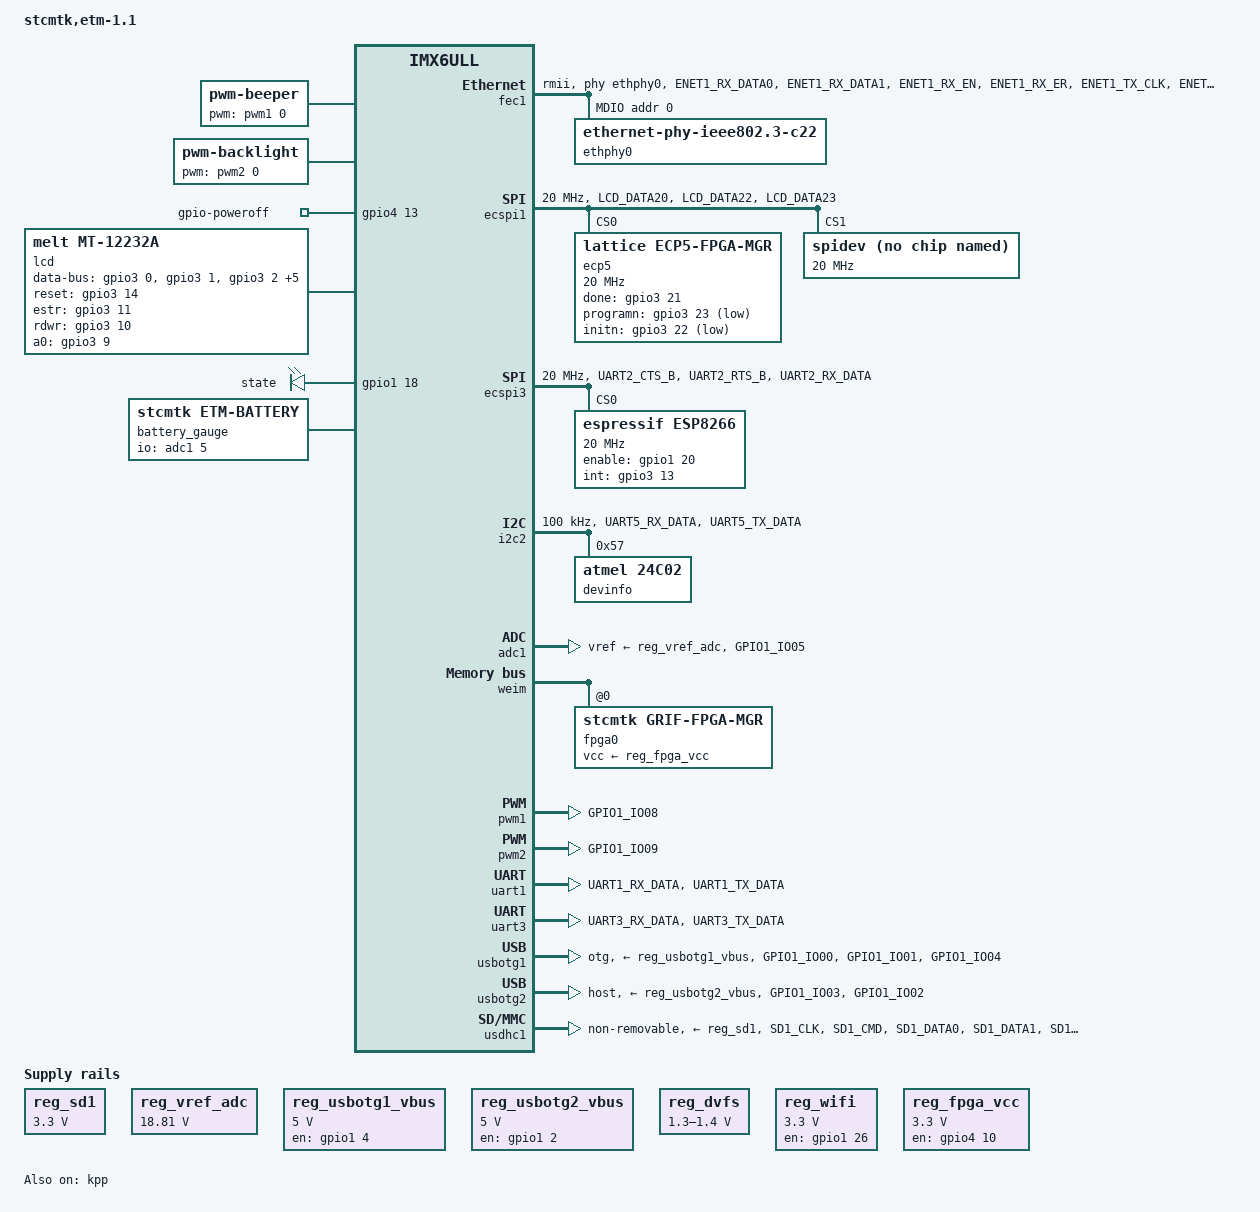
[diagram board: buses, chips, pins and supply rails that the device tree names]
#include "stcmtk-grif-hwtests.dtsi"

/ {
	model = "stcmtk,etm-1.1";
	compatible = "stcmtk,etm", "fsl,imx6ull";

	regulators {
		compatible = "simple-bus";
		#address-cells = <1>;
		#size-cells = <0>;

		reg_sd1: sd1@0 {
			compatible = "regulator-fixed";
			regulator-name = "SD1_PWR_STUB";
			regulator-min-microvolt = <3300000>;
			regulator-max-microvolt = <3300000>;
			regulator-always-on;
		};

		reg_vref_adc: vref_adc@1 {
			compatible = "regulator-fixed";
			regulator-name = "ADC_REF_STUB";
			/* This regulator is used for ETM battery ADC reference
			 * voltage representing. ADC measures battery voltage
			 * behind the voltage divider with factor = 5.7. So
			 * real battery voltage equals ADC voltage * 5.7, and
			 * max ADC voltage is 3.3 * 5.7 = 18.81
			 */
			regulator-min-microvolt = <18810000>;
			regulator-max-microvolt = <18810000>;
			regulator-always-on;
		};

		reg_usbotg1_vbus: reg@2 {
			compatible = "regulator-fixed";
			regulator-name = "USB1_PWR_REG";
			regulator-min-microvolt = <5000000>;
			regulator-max-microvolt = <5000000>;
			enable-active-high;
			gpio = <&gpio1 4 GPIO_ACTIVE_HIGH>;
		};

		reg_usbotg2_vbus: reg@3 {
			compatible = "regulator-fixed";
			regulator-name = "USB2_PWR_REG";
			regulator-min-microvolt = <5000000>;
			regulator-max-microvolt = <5000000>;
			enable-active-high;
			gpio = <&gpio1 2 GPIO_ACTIVE_HIGH>;
		};

		reg_dvfs: reg@4 {
			compatible = "regulator-gpio";
			pinctrl-names = "default";
			pinctrl-0 = <&pinctrl_dvfs>;
			regulator-name = "gpio_dvfs";
			regulator-type = "voltage";
			regulator-min-microvolt = <1300000>;
			regulator-max-microvolt = <1400000>;
			gpios = <&gpio5 3 GPIO_ACTIVE_HIGH>;
			states = <1300000 0x1
				  1400000 0x0>;
		};

		reg_wifi: reg@5 {
			pinctrl-names = "default";
			pinctrl-0 = <&pinctrl_wifi_pwr>;
			compatible = "regulator-fixed";
			regulator-name = "wifi_pwr";
			regulator-min-microvolt = <3300000>;
			regulator-max-microvolt = <3300000>;
			regulator-always-on;
			enable-active-high;
			gpio = <&gpio1 26 GPIO_ACTIVE_HIGH>;
		};

		reg_fpga_vcc: fpga0@6 {
			pinctrl-names = "default";
			pinctrl-0 = <&pinctrl_fpga0_pwr>;
			compatible = "regulator-fixed";
			regulator-name = "FPGA_3V3_REG";
			regulator-type = "voltage";
			regulator-min-microvolt = <3300000>;
			regulator-max-microvolt = <3300000>;
			enable-active-high;
			regulator-always-on;
			gpio = <&gpio4 10 GPIO_ACTIVE_HIGH>;
		};
	};

	beeper {
		compatible = "pwm-beeper";
		status = "okay";
		pwms = <&pwm1 0 500000>;
	};

	backlight {
		compatible = "pwm-backlight";
		brightness-levels = <0 32 64 96 112 128 160 192 220 255>;
		default-brightness-level = <4>;
		status = "okay";
		pwms = <&pwm2 0 500000>;
	};
	
	gpio-poweroff {
		pinctrl-names = "default";
		pinctrl-0 = <&pinctrl_poweroff>;
		compatible = "gpio-poweroff";
		status = "okay";
		gpios = <&gpio4 13 GPIO_ACTIVE_HIGH>;
	};

	lcd {
		compatible = "melt,mt-12232a";
		pinctrl-names = "default";
		pinctrl-0 = <&pinctrl_lcd>;
		data-bus-gpios = <&gpio3 0  GPIO_ACTIVE_HIGH   /* DB0   */
			          &gpio3 1  GPIO_ACTIVE_HIGH   /* DB1   */
			          &gpio3 2  GPIO_ACTIVE_HIGH   /* DB2   */
			          &gpio3 3  GPIO_ACTIVE_HIGH   /* DB3   */
			          &gpio3 5  GPIO_ACTIVE_HIGH   /* DB4   */
			          &gpio3 6  GPIO_ACTIVE_HIGH   /* DB5   */
			          &gpio3 7  GPIO_ACTIVE_HIGH   /* DB6   */
			          &gpio3 8  GPIO_ACTIVE_HIGH>; /* DB7   */
		reset-gpios    = <&gpio3 14 GPIO_ACTIVE_HIGH>; /* RESET */
		cs-gpios       = <&gpio3 12 GPIO_ACTIVE_HIGH>; /* CS    */
		estr-gpios     = <&gpio3 11 GPIO_ACTIVE_HIGH>; /* ESTR  */
		rdwr-gpios     = <&gpio3 10 GPIO_ACTIVE_HIGH>; /* RDWR  */
		a0-gpios       = <&gpio3 9  GPIO_ACTIVE_HIGH>; /* A0    */
		status = "okay";
	};

	leds {
		/* TODO: choose led names with the App team */
		status {
			pinctrl-names = "default";
			pinctrl-0 = <&pinctrl_led_status>;
			label = "state";
			linux,default-trigger = "heartbeat";
			gpios = <&gpio1 18 GPIO_ACTIVE_HIGH>;
			panic-indicator;
		};
	};

	gpio-exporter {
		compatible = "linux,gpio-exporter";
		status = "okay";
		exported-gpios = <&gpio4 15 GPIO_ACTIVE_HIGH>,
				 <&gpio4 12 GPIO_ACTIVE_HIGH>,
				 <&gpio3 16 GPIO_ACTIVE_HIGH>;
		exported-gpio-names = "mcu-boot", "mcu-pwr-en", "poe-gpio";
	};

	gpio-pin-test {
		compatible = "linux,gpio-exporter";
		status = "okay";
		exported-gpios = <&gpio4 16 GPIO_ACTIVE_HIGH>,
				 <&gpio4 11 GPIO_ACTIVE_HIGH>,
				 <&gpio4 21 GPIO_ACTIVE_HIGH>,
				 <&gpio4 22 GPIO_ACTIVE_HIGH>,
				 <&gpio4 23 GPIO_ACTIVE_HIGH>,
				 <&gpio4 24 GPIO_ACTIVE_HIGH>,
				 <&gpio4 25 GPIO_ACTIVE_HIGH>,
				 <&gpio4 26 GPIO_ACTIVE_HIGH>,
				 <&gpio4 27 GPIO_ACTIVE_HIGH>,
				 <&gpio4 28 GPIO_ACTIVE_HIGH>,
				 <&gpio4 1 GPIO_ACTIVE_HIGH>,
				 <&gpio4 3 GPIO_ACTIVE_HIGH>,
				 <&gpio4 4 GPIO_ACTIVE_HIGH>,
				 <&gpio4 5 GPIO_ACTIVE_HIGH>,
				 <&gpio4 6 GPIO_ACTIVE_HIGH>,
				 <&gpio4 7 GPIO_ACTIVE_HIGH>,
				 <&gpio4 8 GPIO_ACTIVE_HIGH>,
				 <&gpio4 9 GPIO_ACTIVE_HIGH>,
				 <&gpio4 20 GPIO_ACTIVE_HIGH>,
				 <&gpio4 17 GPIO_ACTIVE_HIGH>,
				 <&gpio4 19 GPIO_ACTIVE_HIGH>,
				 <&gpio4 18 GPIO_ACTIVE_HIGH>,
				 <&gpio3 17 GPIO_ACTIVE_HIGH>,
				 <&gpio3 18 GPIO_ACTIVE_HIGH>,
				 <&gpio3 19 GPIO_ACTIVE_HIGH>,
				 <&gpio3 20 GPIO_ACTIVE_HIGH>,
				 <&gpio3 24 GPIO_ACTIVE_HIGH>,
				 <&gpio1 10 GPIO_ACTIVE_HIGH>;
		exported-gpio-names = "01.EIM_WAIT", "02.EIM_BCLK", "03.EIM_AD0",
				      "04.EIM_AD1", "05.EIM_AD2", "06.EIM_AD3", "07.EIM_AD4",
				      "08.EIM_AD5", "09.EIM_AD6", "10.EIM_AD7", "11.EIM_AD8",
				      "12.EIM_AD9", "13.EIM_AD10", "14.EIM_AD11", "15.EIM_AD12",
				      "16.EIM_AD13", "17.EIM_AD14", "18.EIM_AD15",
				      "19.EIM_LBA",
				      "20.EIM_CS", "21.EIM_RW", "22.EIM_OE", "23.FPGA_INT_1",
				      "24.FPGA_INT_2", "25.FPGA_INT_3", "26.FPGA_INT_4",
				      "35.CPU_GRSN", "27.SDMA_INT";
	};

	bat_info: battery_info {
		compatible = "simple-battery";
		voltage-min-design-microvolt = <6200000>;
		charge-full-design-microamp-hours = <2600000>;
		constant_charge_voltage_max_microvolt = <8400000>;
	};

	battery_gauge {
		compatible = "stcmtk,etm-battery";
		monitored-battery = <&bat_info>;
		io-channels = <&adc1 5>;
		io-channel-names = "voltage";
		charge-detect-voltage-microvolt = <10000000>;
	};
};

&cpu0 {
	operating-points = <
		/* kHz	uV */
		900000	1275000
		792000	1225000
		528000	1175000
		396000	1025000
		198000	950000
	>;
	fsl,soc-operating-points = <
		/* KHz	uV */
		900000	1175000
		792000	1175000
		528000	1175000
		396000	1175000
		198000	1175000
	>;
	fsl,low-power-run;
	fsl,arm-soc-shared = <0>;
	dc-supply = <&reg_dvfs>;
};

&kpp {
	pinctrl-names = "default","sleep","idle","init";
	pinctrl-0 = <&pinctrl_kpp>;
	pinctrl-1 = <&pinctrl_kpp>;
	pinctrl-2 = <&pinctrl_kpp>;
	pinctrl-3 = <&pinctrl_kpp>;
	linux,autorepeat-delay = <500>; /* miliseconds */
	linux,autorepeat-period = <50>; /* miliseconds */
	linux,keymap = <
			MATRIX_KEY(4, 5, KEY_KPASTERISK)
			MATRIX_KEY(0, 5, KEY_7)
			MATRIX_KEY(5, 5, KEY_4)
			MATRIX_KEY(6, 5, KEY_1)
			MATRIX_KEY(7, 5, KEY_HOME)
			MATRIX_KEY(5, 4, KEY_LEFT)
			MATRIX_KEY(5, 0, KEY_ESC)
			MATRIX_KEY(4, 6, KEY_0)
			MATRIX_KEY(0, 6, KEY_8)
			MATRIX_KEY(5, 6, KEY_5)
			MATRIX_KEY(6, 6, KEY_2)
			MATRIX_KEY(7, 6, KEY_DOWN)
			MATRIX_KEY(6, 4, KEY_UP)
			MATRIX_KEY(4, 7, KEY_GRAVE)
			MATRIX_KEY(0, 7, KEY_9)
			MATRIX_KEY(5, 7, KEY_6)
			MATRIX_KEY(6, 7, KEY_3)
			MATRIX_KEY(7, 7, KEY_END)
			MATRIX_KEY(7, 4, KEY_RIGHT)
			MATRIX_KEY(7, 0, KEY_ENTER)
	>;
	clocks = <&clks IMX6UL_CLK_KPP>;
	status = "okay";
};

&fec1 {
	pinctrl-names = "default";
	pinctrl-0 = <&pinctrl_enet1 &pinctrl_ethphy0 &pinctrl_mdio0>;
	phy-mode = "rmii";
	phy-handle = <&ethphy0>;
	phy-reset-gpios = <&gpio4 14 GPIO_ACTIVE_HIGH>;
	local-mac-address = [00 21 ce 40 00 01];
	status = "okay";

	mdio {
		#address-cells = <1>;
		#size-cells = <0>;

		ethphy0: ethernet-phy@0 {
			compatible = "ethernet-phy-ieee802.3-c22";
			reg = <0>;
		};
	};
};

&gpc {
	fsl,cpu_pupscr_sw2iso = <0x1>;
	fsl,cpu_pupscr_sw = <0x0>;
	fsl,cpu_pdnscr_iso2sw = <0x1>;
	fsl,cpu_pdnscr_iso = <0x1>;
	fsl,ldo-bypass = <0>; /* DCDC, ldo-enable */
};

&ecspi1 {
	pinctrl-names = "default";
	pinctrl-0 = <&pinctrl_ecspi1>;
	clock-frequency = <20000000>;
	status = "okay";
	fsl,spi-num-chipselects = <2>;
	/* Actually there is no CS muxed to the pin  because we need to
	 * drive CS manually from the Lattice ECP5 FPGA driver
	 * see pinmux definition for details
	 */
	cs-gpios = <0 0>;

	ecp5: ecp5@0 {
		pinctrl-names = "default";
		pinctrl-0 = <&pinctrl_ecp5 &pinctrl_ecp5_spi_cs>;
		compatible = "lattice,ecp5-fpga-mgr";
		status = "okay";
		spi-max-frequency = <20000000>;
		reg = <0>;
		cs-gpios = <&gpio3 26 GPIO_ACTIVE_LOW>;
		done-gpios = <&gpio3 21 GPIO_ACTIVE_HIGH>;
		programn-gpios = <&gpio3 23 GPIO_ACTIVE_LOW>;
		initn-gpios = <&gpio3 22 GPIO_ACTIVE_LOW>;
	};

       spidev@1 {
		compatible = "spidev";
		reg = <1>;
		spi-max-frequency = <20000000>;
		status = "okay";
       };
};

&ecspi3 {
	pinctrl-names = "default";
	pinctrl-0 = <&pinctrl_ecspi3>;
	clock-frequency = <20000000>;
	status = "okay";
	fsl,spi-num-chipselects = <1>;
	cs-gpios = <0>;

	esp8266: esp8266@0 {
		pinctrl-names = "default";
		pinctrl-0 = <&pinctrl_wifi>;
		compatible = "espressif,esp8266";
		spi-max-frequency = <20000000>;
		reg = <0>;
		enable-gpio = <&gpio1 20 GPIO_ACTIVE_HIGH>;
		int-gpio = <&gpio3 13 GPIO_ACTIVE_HIGH>;
		status = "okay";
	};
};

&i2c2 {
	clock-frequency = <100000>;
	pinctrl-names = "default";
	pinctrl-0 = <&pinctrl_i2c2>;
	status = "okay";

	devinfo@57 {
		pinctrl-names = "default";
		pinctrl-0 = <&pinctrl_eeprom1>;
		compatible = "atmel,24c02";
		reg = <0x57>;
		pagesize = <16>;
	};
};

&iomuxc {
	pinctrl-names = "default";
	pinctrl-0 = <&pinctrl_hog_1>;
	stcmtk-lan-tester {
		pinctrl_hog_1: hoggrp-1 {
			fsl,pins = <
				/* JTAG */
				MX6UL_PAD_JTAG_TCK__SJC_TCK		0x000070A0
				MX6UL_PAD_JTAG_TDI__SJC_TDI		0x000070A0
				MX6UL_PAD_JTAG_TDO__SJC_TDO		0x000090B1
				MX6UL_PAD_JTAG_TMS__SJC_TMS		0x000070A0
				MX6UL_PAD_JTAG_TRST_B__SJC_TRSTB	0x000070A0

				/* FPGA */
				MX6UL_PAD_JTAG_MOD__SDMA_EXT_EVENT00	0x0000B0A0 /* SDMA INT */
				MX6UL_PAD_LCD_DATA12__GPIO3_IO17	0x000010B0 /* FPGA_INT_1 */
				MX6UL_PAD_LCD_DATA13__GPIO3_IO18	0x000010B0 /* FPGA_INT_2 */
				MX6UL_PAD_LCD_DATA14__GPIO3_IO19	0x000010B0 /* FPGA_INT_3 */
				MX6UL_PAD_LCD_DATA15__GPIO3_IO20	0x000010B0 /* FPGA_INT_4 */

				MX6UL_PAD_LCD_DATA19__GPIO3_IO24	0x000010B0 /* GSRN - FPGA RESET */

				/* CABLE TESTING - STM32 MCU */
				MX6UL_PAD_NAND_CLE__GPIO4_IO15		0x000010B0 /* MCU_BOOT */
				MX6UL_PAD_NAND_READY_B__GPIO4_IO12	0x000010B0 /* LAN_TESTER_PWR_EN */
				MX6UL_PAD_LCD_DATA11__GPIO3_IO16	0x000010B0 /* POE_CLASS4_EN */

				/* EIM GROUP */
				MX6UL_PAD_CSI_DATA00__GPIO4_IO21	0x000010B0      
				MX6UL_PAD_CSI_DATA01__GPIO4_IO22	0x000010B0      
				MX6UL_PAD_CSI_DATA02__GPIO4_IO23	0x000010B0      
				MX6UL_PAD_CSI_DATA03__GPIO4_IO24	0x000010B0      
				MX6UL_PAD_CSI_DATA04__GPIO4_IO25	0x000010B0      
				MX6UL_PAD_CSI_DATA05__GPIO4_IO26	0x000010B0      
				MX6UL_PAD_CSI_DATA06__GPIO4_IO27	0x000010B0      
				MX6UL_PAD_CSI_DATA07__GPIO4_IO28	0x000010B0      
				MX6UL_PAD_CSI_HSYNC__GPIO4_IO20		0x000010B0      
				MX6UL_PAD_CSI_MCLK__GPIO4_IO17		0x000010B0      
				MX6UL_PAD_CSI_PIXCLK__GPIO4_IO18	0x000010B0      
				MX6UL_PAD_CSI_VSYNC__GPIO4_IO19		0x000010B0      
				MX6UL_PAD_JTAG_MOD__GPIO1_IO10		0x0000B0A0      
				MX6UL_PAD_LCD_DATA12__GPIO3_IO17	0x000010B0      
				MX6UL_PAD_LCD_DATA13__GPIO3_IO18	0x000010B0      
				MX6UL_PAD_LCD_DATA14__GPIO3_IO19	0x000010B0      
				MX6UL_PAD_LCD_DATA15__GPIO3_IO20	0x000010B0      
				MX6UL_PAD_LCD_DATA19__GPIO3_IO24	0x000010B0      
				MX6UL_PAD_NAND_DATA00__GPIO4_IO02	0x000010B0      
				MX6UL_PAD_NAND_DATA01__GPIO4_IO03	0x000010B0      
				MX6UL_PAD_NAND_DATA02__GPIO4_IO04	0x000010B0      
				MX6UL_PAD_NAND_DATA03__GPIO4_IO05	0x000010B0      
				MX6UL_PAD_NAND_DATA04__GPIO4_IO06	0x000010B0      
				MX6UL_PAD_NAND_DATA05__GPIO4_IO07	0x000010B0      
				MX6UL_PAD_NAND_DATA06__GPIO4_IO08	0x000010B0      
				MX6UL_PAD_NAND_DATA07__GPIO4_IO09	0x000010B0      
				MX6UL_PAD_NAND_DQS__GPIO4_IO16		0x000010B0      
				MX6UL_PAD_NAND_WP_B__GPIO4_IO11		0x000010B0
			>;
		};

		pinctrl_led_status: led_status_grp {
			fsl,pins = <
				/* STATUS LED */
				MX6UL_PAD_UART1_CTS_B__GPIO1_IO18	0x000010B0
			>;
		};

		pinctrl_led_link: led_link_grp {
			fsl,pins = <
				/* LINK LED */
				MX6UL_PAD_UART1_RTS_B__GPIO1_IO19	0x000010B0
			>;
		};

		pinctrl_poweroff: poweroffgrp {
			fsl,pins = <
				/* GPIO POWEROFF (suicide) */
				MX6UL_PAD_NAND_CE0_B__GPIO4_IO13	0x000010B0 /* SW_OFF */
			>;
		};

		pinctrl_backlight: backlightgrp {
			fsl,pins = <
				MX6UL_PAD_GPIO1_IO09__PWM2_OUT		0x000010B0 /* Backlight PWM */
			>;
		};

		pinctrl_adc1: adc1grp {
			fsl,pins = <
				/* BATTERY VOLTAGE */
				MX6UL_PAD_GPIO1_IO05__GPIO1_IO05	0x000000B0
			>;
		};

		pinctrl_buzzer1: buzzer1grp {
			fsl,pins = <
				MX6UL_PAD_GPIO1_IO08__PWM1_OUT		0x000110B0
			>;
		};

		pinctrl_enet1: enet1grp {
			fsl,pins = <
				MX6UL_PAD_ENET1_RX_DATA0__ENET1_RDATA00 0x0001B0B0
				MX6UL_PAD_ENET1_RX_DATA1__ENET1_RDATA01 0x0001B0B0
				MX6UL_PAD_ENET1_RX_EN__ENET1_RX_EN	0x0001B0B0
				MX6UL_PAD_ENET1_RX_ER__ENET1_RX_ER	0x0001B0B0
				MX6UL_PAD_ENET1_TX_CLK__ENET1_REF_CLK1  0x400010A9
				MX6UL_PAD_ENET1_TX_DATA0__ENET1_TDATA00 0x0001B0B0
				MX6UL_PAD_ENET1_TX_DATA1__ENET1_TDATA01 0x0001B0B0
				MX6UL_PAD_ENET1_TX_EN__ENET1_TX_EN	0x0001B0B0
			>;
		};

		pinctrl_mdio0: mdio0grp {
			fsl,pins = <
				MX6UL_PAD_GPIO1_IO07__ENET1_MDC		0x0001B0B0
				MX6UL_PAD_GPIO1_IO06__ENET1_MDIO	0x0001F829
			>;
		};

		pinctrl_ethphy0: ethphy0grp {
			fsl,pins = <
				/* ETH 10/100 PHY (D2, Micrel KSZ8081RNB) RESET */
				MX6UL_PAD_NAND_CE1_B__GPIO4_IO14	0x000010B0 /* PHY_nRST */
			>;
		};

		pinctrl_kpp: kppgrp {
			fsl,pins = <
				MX6UL_PAD_ENET2_RX_DATA0__KPP_ROW04	0x0001b010
				MX6UL_PAD_ENET2_RX_DATA1__KPP_COL04	0x000110b0
				MX6UL_PAD_ENET2_RX_EN__KPP_ROW05	0x0001b010
				MX6UL_PAD_ENET2_RX_ER__KPP_COL07	0x000110b0
				MX6UL_PAD_ENET2_TX_CLK__KPP_ROW07	0x0001b010
				MX6UL_PAD_ENET2_TX_DATA0__KPP_COL05	0x000110b0
				MX6UL_PAD_ENET2_TX_DATA1__KPP_ROW06	0x0001b010
				MX6UL_PAD_ENET2_TX_EN__KPP_COL06	0x000110b0
				MX6UL_PAD_NAND_RE_B__KPP_ROW00		0x0001b010
				MX6UL_PAD_NAND_WE_B__KPP_COL00		0x000110b0
			>;
		};

		pinctrl_lcd: lcdgrp {
			fsl,pins = <
				/* LCD */
				MX6UL_PAD_LCD_CLK__GPIO3_IO00		0x000010B0 /* DB0 */
				MX6UL_PAD_LCD_ENABLE__GPIO3_IO01	0x000010B0 /* DB1 */
				MX6UL_PAD_LCD_HSYNC__GPIO3_IO02		0x000010B0 /* DB2 */
				MX6UL_PAD_LCD_VSYNC__GPIO3_IO03		0x000010B0 /* DB3 */
				MX6UL_PAD_LCD_DATA00__GPIO3_IO05	0x000010B0 /* DB4 */
				MX6UL_PAD_LCD_DATA01__GPIO3_IO06	0x000010B0 /* DB5 */
				MX6UL_PAD_LCD_DATA02__GPIO3_IO07	0x000010B0 /* DB6 */
				MX6UL_PAD_LCD_DATA03__GPIO3_IO08	0x000010B0 /* DB7 */
				MX6UL_PAD_LCD_DATA04__GPIO3_IO09	0x000010B0 /* A0 */
				MX6UL_PAD_LCD_DATA05__GPIO3_IO10	0x000010B0 /* RD/WR */
				MX6UL_PAD_LCD_DATA06__GPIO3_IO11	0x000010B0 /* E */
				MX6UL_PAD_LCD_DATA07__GPIO3_IO12	0x000010B0 /* CS */
				MX6UL_PAD_LCD_DATA09__GPIO3_IO14	0x000010B0 /* RESET */
			>;
		};

		pinctrl_eeprom1: eeprom1grp {
			fsl,pins = <
				/*
				 * EEPROM write protect
				 *
				 * this pin is not consumed by the eeprom driver,
				 * but we can use it from userspace
				 */
				MX6UL_PAD_LCD_DATA10__GPIO3_IO15	0x000010B0
			>;
		};

		pinctrl_ecspi1: ecspi1grp {
			fsl,pins = <
			     /*
			      * This pin shoud be muxed in a separate group so that we can
			      * use it as a gpio. See below.
			      *
			      * MX6UL_PAD_LCD_DATA21__ECSPI1_SS0	0x000010B0
			      */
				MX6UL_PAD_LCD_DATA20__ECSPI1_SCLK	0x000010B0
				MX6UL_PAD_LCD_DATA22__ECSPI1_MOSI	0x000010B0
				MX6UL_PAD_LCD_DATA23__ECSPI1_MISO	0x000010B0
			>;
		};

		pinctrl_ecspi3: ecspi3grp {
			fsl,pins = <
				MX6UL_PAD_UART2_CTS_B__ECSPI3_MOSI	0x000010B0
				MX6UL_PAD_UART2_RTS_B__ECSPI3_MISO	0x000010B0
				MX6UL_PAD_UART2_RX_DATA__ECSPI3_SCLK	0x000010B0
				/* MX6UL_PAD_UART2_TX_DATA__ECSPI3_SS0	   0x000010b0 */
			>;
		};

		pinctrl_ecp5_spi_cs: ecp5-spi-cs-grp {
			/*
			 *  Here we mux PAD_UART4_RX_DATA (H17) to GPIO1_IO29 in place
			 *  of ECSPI2_SS0 to be able to drive CS. This is a workaround for
			 *  Lattice ECP5 FPGA Slave SPI programming algo, see Lattice
			 *  Programming Tools User Guide, ch. Slave SPI Embedded.
			 */
			fsl,pins = <
				MX6UL_PAD_LCD_DATA21__GPIO3_IO26	0x000010B0
			>;
		};

		pinctrl_ecp5: ecp5grp {
			fsl,pins = <
				/* FPGA ECP5 SysConfig */
				MX6UL_PAD_LCD_DATA16__GPIO3_IO21	0x000010B0 /* DONE */
				MX6UL_PAD_LCD_DATA17__GPIO3_IO22	0x000010B0 /* INITN */
				MX6UL_PAD_LCD_DATA18__GPIO3_IO23	0x000010B0 /* PROGRAMN */
			>;
		};

		pinctrl_wdog: wdoggrp {
			fsl,pins = <
				MX6UL_PAD_LCD_RESET__WDOG1_WDOG_ANY	0x000030B0
			>;
		};

	        pinctrl_i2c1: i2c1grp {
			fsl,pins = <
				MX6UL_PAD_UART4_RX_DATA__I2C1_SDA	0x4001B8B1
				MX6UL_PAD_UART4_TX_DATA__I2C1_SCL	0x4001B8B1
			>;
		};

	        pinctrl_i2c2: i2c2grp {
			fsl,pins = <
				MX6UL_PAD_UART5_RX_DATA__I2C2_SDA	0x4001B8B1
				MX6UL_PAD_UART5_TX_DATA__I2C2_SCL	0x4001B8B1
			>;
		};

		/* System console */
		pinctrl_uart1: uart1grp {
			fsl,pins = <
				MX6UL_PAD_UART1_RX_DATA__UART1_DCE_RX	0x0001B0B1
				MX6UL_PAD_UART1_TX_DATA__UART1_DCE_TX	0x0001B0B1
			>;
		};

		pinctrl_wifi: wifigrp {
			fsl,pins = <
				MX6UL_PAD_UART2_TX_DATA__GPIO1_IO20	0x000010B0 /* WLESS_EN */
				MX6UL_PAD_LCD_DATA08__GPIO3_IO13	0x000010B0 /* WLESS_INT */
			>;
		};

		pinctrl_wifi_pwr: wifi-pwr-grp {
			fsl,pins = <
				MX6UL_PAD_UART3_CTS_B__GPIO1_IO26	0x000010B0 /* WLESS_PWR */
			>;
		};

		/* STM32 MCU UART */
		pinctrl_uart3: uart3grp {
			fsl,pins = <
				MX6UL_PAD_UART3_RX_DATA__UART3_DCE_RX	0x0001B0B1
				MX6UL_PAD_UART3_TX_DATA__UART3_DCE_TX	0x0001B0B1
			>;
		};

		pinctrl_usdhc1: usdhc1grp {
			fsl,pins = <
				MX6UL_PAD_SD1_CLK__USDHC1_CLK		0x00017059
				MX6UL_PAD_SD1_CMD__USDHC1_CMD		0x00010059
				MX6UL_PAD_SD1_DATA0__USDHC1_DATA0	0x00017059
				MX6UL_PAD_SD1_DATA1__USDHC1_DATA1	0x00017059
				MX6UL_PAD_SD1_DATA2__USDHC1_DATA2	0x00017059
				MX6UL_PAD_SD1_DATA3__USDHC1_DATA3	0x00017059
			>;
		};

		pinctrl_usbotg1: usbotg1grp {
			fsl,pins = <
				MX6UL_PAD_GPIO1_IO00__ANATOP_OTG1_ID	0x00017059
				MX6UL_PAD_GPIO1_IO01__USB_OTG1_OC	0x000010B0
				MX6UL_PAD_GPIO1_IO04__GPIO1_IO04	0x000010B0
			>;
		};

		pinctrl_usbotg2: usbotg2grp {
			fsl,pins = <
				MX6UL_PAD_GPIO1_IO03__USB_OTG2_OC	0x000010B0
				MX6UL_PAD_GPIO1_IO02__GPIO1_IO02	0x000010B0
			>;
		};
		
		pinctrl_fpga0_pwr: fpga0-pwr-grp {
			fsl,pins = <
				MX6UL_PAD_NAND_ALE__GPIO4_IO10		0x000010B0 /* PWR_FPGA_EN */
			>;
		};
	};
};

&iomuxc_snvs {
	pinctrl-names = "default";
	pinctrl-0 = <&pinctrl_ethint0>;
	stcmtk-lan-tester {
		pinctrl_dvfs: dvfsgrp {
			fsl,pins = <
				/* GPIO_DVFS */
				MX6ULL_PAD_SNVS_TAMPER3__GPIO5_IO03	0x000110A0
			>;

		};

		pinctrl_ethint0: ethint0grp {
			fsl,pins = <
				MX6ULL_PAD_SNVS_TAMPER5__GPIO5_IO05	0x000110A0 /* PHY nINT */
			>;
		};
	};
};

&adc1 {
	pinctrl-names = "default";
	pinctrl-0 = <&pinctrl_adc1>;
	vref-supply = <&reg_vref_adc>;
	num-channels = <6>;
	status = "okay";
	#io-channel-cells = <1>;
};

&weim {
	pinctrl-names = "default";
	//pinctrl-0 = <&pinctrl_weim>;
	/* Open EIM clock gate */
	clocks = <&clks IMX6UL_CLK_EIM>;
	assigned-clocks = <&clks IMX6UL_CLK_EIM_SLOW_SEL>, <&clks IMX6UL_CLK_EIM_SLOW_PODF>;
	/* Choose PLL2 PFD2 clock source 400 MHz... */
	assigned-clock-parents = <&clks IMX6UL_CLK_PLL2_PFD2>;
	/* ... and divide it by 8 */
	assigned-clock-rates = <0>, <50000000>;
	status = "okay";
	#address-cells = <2>;
	#size-cells = <1>;
	ranges = <0 0 0x50000000 0x08000000>; /* We are using only CS0 */
	eim-continuous-bclk;

	fpga0: fpga@0,0 {
		compatible = "stcmtk,grif-fpga-mgr";
		#address-cells = <2>;
		#size-cells = <1>;
		reg = <0 0x0 0x00020000>; /* 16-bit address range but x2 since
					     EIM addresses are words, not bytes */
		fpga-name = "Main FPGA";
		/* CS0 Configuration registers:
		    CSxGCR1, CSxGCR2, CSxRCR1,
		    CSxRCR2, CSxWCR1, CSxWCR2*/
		fsl,weim-cs-timing = <0x0111008f 0x00001000 0x02000000
				      0x00000000 0x01000000 0x00000000>;
		ecp5-fpga-mgr = <&ecp5>;
		vcc-supply = <&reg_fpga_vcc>;
		no-parse-fpga-features;
	};
};

&pwm1 {
	pinctrl-names = "default";
	pinctrl-0 = <&pinctrl_buzzer1>;
	status = "okay";
};

&pwm2 {
	pinctrl-names = "default";
	pinctrl-0 = <&pinctrl_backlight>;
	clocks = <&clks IMX6UL_CLK_PWM2>,
		 <&clks IMX6UL_CLK_PWM2>;
	clock-names = "ipg", "per";
	status = "okay";
};

/* System console */
&uart1 {
	pinctrl-names = "default";
	pinctrl-0 = <&pinctrl_uart1>;
	status = "okay";
};

/* STM32 MCU UART */
&uart3 {
	pinctrl-names = "default";
	pinctrl-0 = <&pinctrl_uart3>;
	status = "okay";
};

&usbotg1 {
	pinctrl-names = "default";
	pinctrl-0 = <&pinctrl_usbotg1>;
	vbus-supply = <&reg_usbotg1_vbus>;
	dr_mode = "otg";
	srp-disable;
	hnp-disable;
	adp-disable;
	status = "okay";
	disable-overcurrent;
};

&usbphy1 {
	tx-d-cal = <0x5>;
};

&usbotg2 {
	pinctrl-names = "default";
	pinctrl-0 = <&pinctrl_usbotg2>;
	vbus-supply = <&reg_usbotg2_vbus>;
	dr_mode = "host";
	status = "okay";
	disable-overcurrent;
};

&usbphy2 {
	tx-d-cal = <0x5>;
};

&usdhc1 {
	pinctrl-names = "default";
	pinctrl-0 = <&pinctrl_usdhc1>;
	vmmc-supply = <&reg_sd1>;
	non-removable;
	no-1-8-v;
	non-removable;
	keep-power-in-suspend;
	status = "okay";
};

&wdog1 {
	pinctrl-names = "default";
	pinctrl-0 = <&pinctrl_wdog>;
	/*  
	 *  Enable WDOG1_B and WDOG1_ANY external signals assertion on wdog1
	 *  timeout.
	 */
	fsl,ext-reset-output;
};
